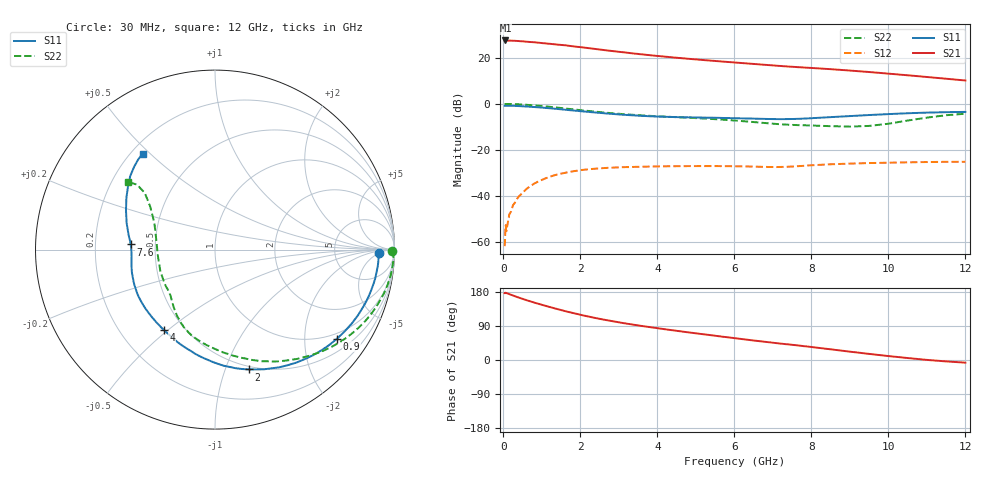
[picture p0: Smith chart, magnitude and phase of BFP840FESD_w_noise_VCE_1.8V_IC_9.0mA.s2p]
! Infineon Technologies  Discrete & RF Semiconductors
! BFP840FESD
! VCE =  1.8 V,  IC =  9.0 mA
! Common Emitter S-Parameters:  May 2012
# GHz  S  MA  R  50
!  f  S11  S21  S12  S22
! GHz  MAG  ANG  MAG  ANG  MAG  ANG  MAG  ANG
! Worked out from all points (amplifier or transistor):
!   103 points, 30 MHz to 12 GHz, reference 50 ohm
!   highest |S21| = 27.6 dB at 50 MHz (marker M1)
!   |S21| within 3 dB of that: start of sweep to 2.045 GHz
!   unconditionally stable (mu >= 1): 6.555 GHz to end of sweep
!   at 400 MHz: K = 0.09, MSG = 33.8 dB, |S12| = -40.3 dB
!   at 3.7 GHz: K = 0.50, MSG = 24.4 dB, |S12| = -27.3 dB
!   at 12 GHz: K = 1.17, MAG = 15.2 dB, |S12| = -25.2 dB
!   lowest NFmin = 0.64 dB at 450 MHz
!   S11 on the Smith chart (normalised r, x): 30 MHz: 21, -5; 900 MHz: 0.84, -2.85; 2 GHz: 0.47, -1.21; 4 GHz: 0.39, -0.48; 7.6 GHz: 0.36, +0.03; 12 GHz: 0.24, +0.47
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0.03  0.9128 -1.2  23.92 176.5  0.0008 81.5  0.9886 -0.4
0.04  0.913 -1.6  23.92 176.2  0.001 90.3  0.9908 -0.8
0.05  0.9129 -2.1  24 177.5  0.0019 57.4  0.9936 -1.2
0.3  0.903 -12.5  23.57 168.3  0.0071 80.8  0.9854 -9.8
0.5  0.8865 -20.6  22.95 161.2  0.0117 76.3  0.9661 -16.2
0.8  0.8536 -32.4  21.95 151.5  0.0184 69.0  0.9272 -25.4
0.9  0.8419 -36.1  21.52 148.6  0.0204 67.1  0.9121 -28.3
1.2  0.8028 -47.2  20.29 139.9  0.0258 60.2  0.8635 -36.9
1.6  0.7466 -61.5  18.88 129.0  0.0316 52.1  0.7953 -47.8
2  0.6942 -74.1  17.17 119.4  0.036 45.0  0.7307 -57.9
2.1  0.6823 -77.2  16.78 117.0  0.0369 43.1  0.7165 -60.3
2.5  0.6372 -88.4  15.25 108.6  0.0396 37.6  0.663 -69.0
3  0.5902 -101.0  13.59 99.4  0.0415 32.2  0.6087 -78.4
3.4  0.561 -110.2  12.45 92.8  0.0425 28.8  0.5756 -85.3
4  0.5303 -122.7  11.04 84.0  0.0435 25.1  0.5384 -93.8
4.1  0.5271 -124.7  10.84 82.5  0.0436 24.5  0.5332 -95.3
5  0.5061 -141.6  9.282 70.4  0.0442 21.0  0.4897 -106.4
6.1  0.4854 -159.7  7.848 56.4  0.0437 18.5  0.4282 -119.2
7.6  0.4711 176.5  6.338 39.0  0.0438 23.7  0.3461 -138.8
8.5  0.5148 163.1  5.69 28.2  0.0485 23.8  0.3272 -158.5
10.5  0.6252 139.1  4.192 5.2  0.0534 21.0  0.4338 146.4
12  0.6693 127.0  3.225 -7.0  0.0549 21.0  0.611 142.1
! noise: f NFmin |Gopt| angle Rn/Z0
0.45  0.64  0.36  5  0.14
0.9  0.66  0.34  12  0.15
1.5  0.68  0.31  17  0.14
1.9  0.68  0.28  27  0.15
2.4  0.7  0.26  35  0.15
3.5  0.71  0.25  56  0.14
5.5  0.77  0.17  99  0.12
8  0.89  0.15  161  0.12
10  1.03  0.24  -139  0.12
12  1.25  0.4  -117  0.14
